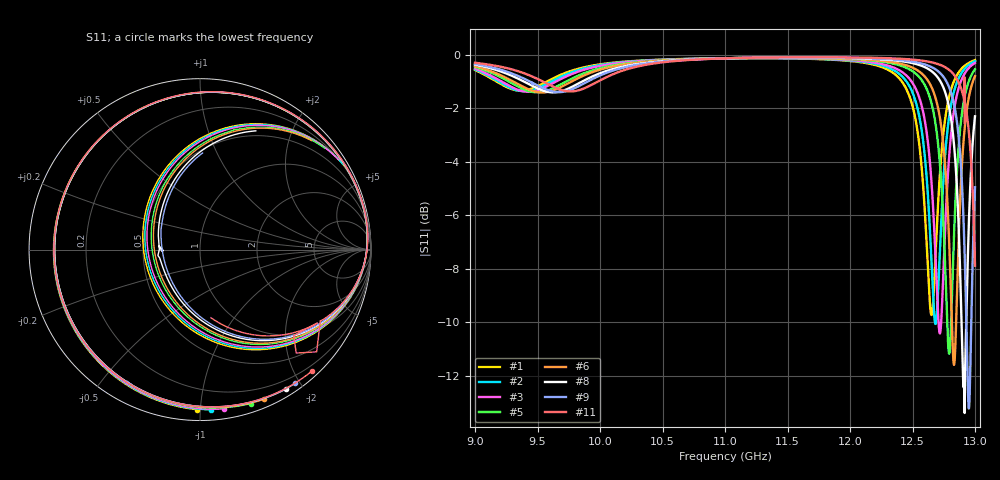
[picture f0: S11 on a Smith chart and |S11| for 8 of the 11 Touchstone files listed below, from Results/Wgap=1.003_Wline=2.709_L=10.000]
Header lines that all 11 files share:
! TOUCHSTONE file generated by CST DESIGN STUDIO
! Project name: C:\Work\MatlabApps\UnitCellOptimizationMatlab\CST\unitcell.cst
! Tree item: Tasks\Sweep1\SPara1\S-Parameters
! Header version: 2024
! Port assignment regex: !\s*Touchstone port\s*([0-9]+)\s*=\s*(CST MWS port|CST DES external port|CST DES block port)\s*(.+)\s* \(\"(.*)\"\)(\s*mode\s*([0-9]+))?.*
! Touchstone port assignment:
! Touchstone port 1 = CST DES external port 1 ("")
# GHz S MA R 50
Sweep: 9 GHz to 13 GHz
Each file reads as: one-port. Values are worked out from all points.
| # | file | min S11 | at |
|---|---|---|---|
| 1 | DS_for_MWS-run-0001.s1p | -9.7 dB | 12.65 GHz |
| 2 | DS_for_MWS-run-0002.s1p | -10.1 dB | 12.68 GHz |
| 3 | DS_for_MWS-run-0003.s1p | -10.4 dB | 12.72 GHz |
| 4 | DS_for_MWS-run-0004.s1p | -10.8 dB | 12.76 GHz |
| 5 | DS_for_MWS-run-0005.s1p | -11.2 dB | 12.79 GHz |
| 6 | DS_for_MWS-run-0006.s1p | -11.6 dB | 12.83 GHz |
| 7 | DS_for_MWS-run-0007.s1p | -12.1 dB | 12.87 GHz |
| 8 | DS_for_MWS-run-0008.s1p | -13.4 dB | 12.92 GHz |
| 9 | DS_for_MWS-run-0009.s1p | -13.2 dB | 12.95 GHz |
| 10 | DS_for_MWS-run-0010.s1p | -14.0 dB | 12.99 GHz |
| 11 | DS_for_MWS-run-0011.s1p | -7.9 dB | 13 GHz |
